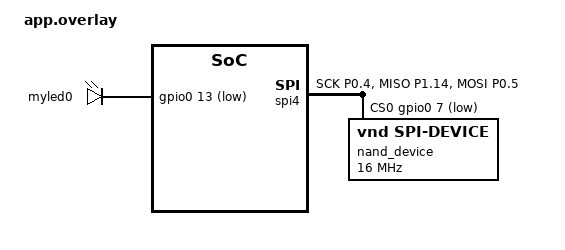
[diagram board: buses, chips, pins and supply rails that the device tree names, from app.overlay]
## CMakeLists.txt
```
# SPDX-License-Identifier: Apache-2.0

cmake_minimum_required(VERSION 3.20.0)
find_package(Zephyr REQUIRED HINTS $ENV{ZEPHYR_BASE})
project(NAND_flash)

file(GLOB APP_SOURCES
            "src/main.c"
            "src/NAND_FLASH_DHARA/src/nand_driver.c"
            "src/NAND_FLASH_DHARA/src/nand_top_layer.c"
            "src/NAND_FLASH_DHARA/dhara/dhara/*.c"
            "src/NAND_FLASH_DHARA/tests/spi_nand_oper_tests.c"
            "src/NAND_FLASH_DHARA/tests/test_spi_nand_top_layer.c"
            "src/NAND_FLASH_DHARA/src/diskio_nand.c"
            "src/NAND_FLASH_DHARA/src/vfs_NAND_flash.c"
            "src/NAND_FLASH_DHARA/tests/test_disk_access.c"
            "src/NAND_FLASH_DHARA/tests/vfs_test.c"
            "src/NAND_FLASH_DHARA/tests/main_nand_tests.c"
            "src/NAND_FLASH_DHARA/src/USB_mass_storage.c"
            "src/NAND_FLASH_DHARA/tests/simulation_test.c"
            "src/NAND_FLASH_DHARA/src/health_monitoring.c"
            "src/NAND_FLASH_DHARA/src/example_handle.c"
            
           
)

include_directories(${PROJECT_SOURCE_DIR}/src/NAND_FLASH_DHARA/dhara/dhara)
include_directories(${PROJECT_SOURCE_DIR}/src/NAND_FLASH_DHARA/inc)
include_directories(${PROJECT_SOURCE_DIR}/src/NAND_FLASH_DHARA/tests)

#FILE(GLOB app_sources dhara/dhara/*.c)

#FILE(GLOB app_sources src/SPI_NAND_DHARA/dhara_glue.c)
target_sources(app PRIVATE ${APP_SOURCES})


# # Ensure Zephyr includes the custom Kconfig
set(BOARD_ROOT ${CMAKE_CURRENT_SOURCE_DIR})
list(APPEND DTS_ROOT ${CMAKE_CURRENT_SOURCE_DIR}/src/NAND_FLASH_DHARA)
zephyr_include_directories(${CMAKE_CURRENT_SOURCE_DIR}/src/NAND_FLASH_DHARA)
```

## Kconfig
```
#
# Copyright (c) 2023 Nordic Semiconductor ASA
# Copyright (c) 2023 Antmicro <www.antmicro.com>
#
# SPDX-License-Identifier: Apache-2.0
#

mainmenu "Filesystems Sample Application"

config FS_SAMPLE_CREATE_SOME_ENTRIES
	bool "When no files are found on mounted partition create some"
	default y
	help
	  In case when no files could be listed, because there are none,
	  "some.dir" directory and "other.txt" file will be created
	  and list will run again to show them. This is useful when
	  showing how file system works on non-SD devices like internal
	  flash or (Q)SPI connected memories, where it is not possible to
	  easily add files with use of other device.

source "Kconfig.zephyr"

# Top-level Kconfig file
source "../src/NAND_FLASH_DHARA/Kconfig"
```

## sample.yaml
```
sample:
  name: Filesystems sample
common:
  tags: filesystem
  modules:
    - fatfs
tests:
  sample.filesystem.fat_fs:
    depends_on: sdhc
    harness: console
    harness_config:
      fixture: fixture_sdhc
  sample.filesystem.fat_fs.overlay:
    platform_allow: nrf52840_blip
  sample.filesystem.fat_fs.adafruit_2_8_tft_touch_v2:
    depends_on:
      - arduino_spi
      - arduino_gpio
      - arduino_i2c
      - gpio
      - spi
    platform_exclude:
      - stm32f769i_disco
      - pan1781_evb
      - pan1782_evb
      - frdm_k64f
      - mimxrt1010_evk
    extra_args: SHIELD=adafruit_2_8_tft_touch_v2
    tags: shield
    harness: console
    harness_config:
      fixture: fixture_shield_adafruit_2_8_tft_touch_v2
  sample.filesystem.fat_fs.nrf52840dk_nrf52840:
    build_only: true
    platform_allow: nrf52840dk_nrf52840
  sample.filesystem.fat_fs.nrf52840dk_nrf52840.qspi:
    build_only: true
    platform_allow: nrf52840dk_nrf52840
    extra_args:
      - OVERLAY_CONFIG=boards/nrf52840dk_nrf52840_qspi.conf
      - DTC_OVERLAY_FILE=boards/nrf52840dk_nrf52840_qspi.overlay
  sample.filesystem.fat_fs.has_sdmmc_disk:
    build_only: true
    filter: dt_compat_enabled("zephyr,sdmmc-disk")
    integration_platforms:
      - frdm_k64f
  sample.filesystem.ext2:
    simulation_exclude:
      - renode
    extra_args: CONF_FILE="prj_ext.conf"
    platform_allow: hifive_unmatched bl5340_dvk_cpuapp
  sample.filesystem.fat_fs.stm32h747i_disco_m7_sdmmc:
    build_only: true
    platform_allow: stm32h747i_disco_m7
    extra_args:
      - OVERLAY_CONFIG=boards/stm32h747i_disco_m7.conf
```

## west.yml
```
manifest:
  remotes:
  - name: ncs
      url-base: https://github.com/nrfconnect
    - name: zephyr
      url-base: https://github.com/zephyrproject-rtos
  projects:
    - name: zephyr
      remote: zephyr
      revision: main
      path: zephyr
    - name: sdk-nrf
      remote: ncs
      path: nrf
      revision: v2.5.1
      import: true
      west-commands: scripts/west-commands.yml
  self:
    path: app
```

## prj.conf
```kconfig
#CONFIG_FILE_SYSTEM=y
#CONFIG_FAT_FILESYSTEM_ELM=y
#CONFIG_PRINTK=y
CONFIG_MAIN_STACK_SIZE=8192
#2048
CONFIG_MAIN_THREAD_PRIORITY=1

# Let __ASSERT do its job
CONFIG_DEBUG=y
CONFIG_SPEED_OPTIMIZATIONS=y
#CONFIG_LOG_DEFAULT_LEVEL=4

#SPI
CONFIG_GPIO=y
CONFIG_SPI=y
#CONFIG_SPI_EXTENDED_MODES=y
CONFIG_SPI_ASYNC=y


#CONFIG_ZTEST=y
#check on heap size
CONFIG_HEAP_MEM_POOL_SIZE=8192 


#Logging
CONFIG_LOG=y
CONFIG_SERIAL=y
CONFIG_LOG_MODE_MINIMAL=y


CONFIG_LOG_DEFAULT_LEVEL=3



CONFIG_FAT_FILESYSTEM_ELM=y
CONFIG_DISK_ACCESS=y
CONFIG_FILE_SYSTEM=y

#TODO remove maybe, to test adding config for fs
CONFIG_FS_FATFS_MOUNT_MKFS=y
CONFIG_FS_FATFS_MAX_SS=2048


CONFIG_DISK_DRIVERS=y
#sector size/32
CONFIG_FS_FATFS_MAX_ROOT_ENTRIES=16000
CONFIG_FS_FATFS_LFN=y





#USB related configs

CONFIG_USB_DEVICE_STACK_NEXT=y
CONFIG_USBD_MSC_CLASS=y
CONFIG_USBD_MSC_SCSI_BUFFER_SIZE=2048
CONFIG_USBD_MSC_LOG_LEVEL_DBG=y
CONFIG_USBD_MSC_STACK_SIZE=2048
CONFIG_USBD_MSC_LUNS_PER_INSTANCE=3

#customized Macros
CONFIG_HEALTH_MONITORING=y
CONFIG_DHARA_METADATA_BUFFER=y
CONFIG_DHARA_METADATA_BUFFER_SIZE=16
```

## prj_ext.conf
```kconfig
# Copyright (c) 2023 Antmicro <www.antmicro.com>
# SPDX-License-Identifier: Apache-2.0

#CONFIG_LOG=y
#CONFIG_LOG_MODE_IMMEDIATE=y

#CONFIG_MAIN_STACK_SIZE=2048

#CONFIG_FILE_SYSTEM=y
#CONFIG_FILE_SYSTEM_EXT2=y

# Enable to allow formatting
# CONFIG_FILE_SYSTEM_MKFS=y
# CONFIG_TEST_RANDOM_GENERATOR=y

#CONFIG_DISK_ACCESS=y
#CONFIG_DISK_DRIVER_SDMMC=y

# First block of first partition after GPT
#CONFIG_EXT2_DISK_STARTING_SECTOR=2082
```

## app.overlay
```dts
// #include <zephyr/dt-bindings/input/input-event-codes.h>


// &qspi{//additionally disabled in proj.conf
//     status = "disabled";
// };


//don't use  P0.08, P0.09, P0.23, P0.24
&pinctrl {
    spi4m_default: spi4m_default {
        group1 {
            psels = <NRF_PSEL(SPIM_SCK, 0, 4)>,//0.8
                <NRF_PSEL(SPIM_MISO, 1, 14)>,//0.12
                <NRF_PSEL(SPIM_MOSI, 0, 5)>; //0.09
            //bias-pull-up;
            //nordic,drive-mode = <NRF_DRIVE_E0E1>;
        };
    };

    spi4m_sleep: spi4m_sleep {
        group1 {
            psels = <NRF_PSEL(SPIM_SCK, 0, 4)>,//0.8
                <NRF_PSEL(SPIM_MISO, 1, 14)>,//0.12
                <NRF_PSEL(SPIM_MOSI, 0, 5)>; //0.09
            low-power-enable;
            //bias-pull-up;
            //nordic,drive-mode = <NRF_DRIVE_E0E1>;
        };
    };
};






my_spi_master:&spi4 {
	compatible = "nordic,nrf-spim";
	status = "okay";
	pinctrl-0 = <&spi4m_default>;
	pinctrl-1 = <&spi4m_sleep>;
	pinctrl-names = "default", "sleep";
    cs-gpios = <&gpio0 7 GPIO_ACTIVE_LOW>;
    
    nand_device: spi-device@0 {
        status = "okay";
        compatible = "vnd,spi-device";
        reg = <0>;
        spi-max-frequency = <16000000>;//126000
        label = "nand_device";
    };
};

/ {
    aliases {
        led0 = &myled0;
    };
   
    leds {
        compatible = "gpio-leds";
        myled0: led_0 {
            gpios = <&gpio0 13 GPIO_ACTIVE_LOW>;
                };
    };
   };
```

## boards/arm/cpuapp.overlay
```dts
#include <zephyr/dt-bindings/input/input-event-codes.h>

&qspi{//additionally disabled in proj.conf
    status = "disabled";
};

&pinctrl {
    spi4m_default: spi4m_default {
        group1 {
            psels = <NRF_PSEL(SPIM_SCK, 1, 8)>,
                <NRF_PSEL(SPIM_MISO, 1, 10)>,
                <NRF_PSEL(SPIM_MOSI, 1, 9)>;
        };
    };

    spi4m_sleep: spi4m_sleep {
        group1 {
            psels = <NRF_PSEL(SPIM_SCK, 1, 8)>,
                <NRF_PSEL(SPIM_MISO, 1, 9)>,
                <NRF_PSEL(SPIM_MOSI, 1, 10)>;
            low-power-enable;
        };
    };
};






&spi4 {
	compatible = "nordic,nrf-spim";
	status = "okay";
	cs-gpios = <&gpio0 11 GPIO_ACTIVE_LOW>; /* D10 */
	pinctrl-0 = <&spi4m_default>;
	pinctrl-1 = <&spi4m_sleep>;
	pinctrl-names = "default", "sleep";
    reg_my_spi_master:reg_my_spi_master@0 {
        status = "okay";
        compatible = "vnd,spi-device";
        reg = <0>;
        spi-max-frequency = <1000000>;
        label = "reg_my_spi_master";
    };
};
```

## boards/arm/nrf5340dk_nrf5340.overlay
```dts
&spi4 {
    reg_my_spi_master:reg_my_spi_master@0 {
        status = "okay";
        compatible = "vnd,spi-device";
        reg = <0>;
        spi-max-frequency = <1000000>;
       
    };
};
```

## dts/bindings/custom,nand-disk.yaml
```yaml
# Copyright (c) 2022 Nordic Semiconductor ASA
# SPDX-License-Identifier: Apache-2.0

description: Block storage device on NAND flash partition

compatible: "custom,nand-disk"

include: base.yaml
include: spi-device.yaml

properties:
  partition:
    type: phandle
    required: true
    description: |
      Backing storage flash map partition.

  label:
    type: string
    required: true
    description: |
      Disk name.
```

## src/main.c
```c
#include <stdio.h>
#include <zephyr/kernel.h>
#include <zephyr/device.h>
#include <zephyr/logging/log.h>

#include <zephyr/drivers/gpio.h>                                                                                                                                                     
#include <zephyr/drivers/spi.h>
#include <zephyr/fs/fs.h>
#include <zephyr/devicetree.h>
#include "zephyr/storage/disk_access.h"
#include <ff.h> 

#ifndef MAIN


#include "nand_driver.h"
#include "spi_nand_oper_tests.h"
#include "test_spi_nand_top_layer.h"
#include "test_disk_access.h"
#include "vfs_NAND_flash.h"
#include "vfs_test.h"
#include "main_nand_tests.h"
#include "USB_mass_storage.h"
#include "simulation_test.h"


#include "diskio_nand.h"
#include "health_monitoring.h"
#include "vfs_NAND_flash.h"


LOG_MODULE_REGISTER(main, LOG_LEVEL_INF);





int  main(void)
{
	LOG_INF("My first breath as an IoT device");

	disk_nand_init();

	mount_nand_fs();

	display_health();
	//const struct spi_dt_spec spidev_dt = nand_init();
	//static struct disk_info nand_disk;
	

	// //Test the SPI communication
	// ret = test_SPI_NAND_Communicator_all_tests(&spidev_dt);
	// if (ret != 0) {
    //     LOG_ERR("Communication tests failed, err: %d", ret);
    // }

	// ret = test_nand_top_layer(&spidev_dt);
	// if (ret != 0) {
    //     LOG_ERR("Top layer DHARA tests failed, err: %d", ret);
    // }

	//test_disk_initialize_status_read(&nand_disk);

	//test_vfs_NAND_flash();
	
	//initialize_mass_storage_nand(); 
	test_all_main_nand_tests();
	//	mount_nand_fs();

	//to manually erase chip, but first disable the disk initialization in the diskio_nand.c at the bottom
	
	//nand_erase_chip(device_handle);

	//simulate_incoming_data();

	return 0;

}

#endif // MAIN
```

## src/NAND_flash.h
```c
/*
 * NAND_flash.h
 *
 * This header file defines a set of functions for interacting with a FAT file system
 * using the Zephyr OS File System API. The functions abstract common file operations,
 * including initialization of the file system, opening, reading, writing, and closing
 * files, as well as manipulating directories. The aim is to provide a simplified interface
 * for applications to perform file operations on a FAT file system..
 *
 *
 *
 * Author: [Denis Buckingham]
 * Date: [10.03.2024]
 */
```

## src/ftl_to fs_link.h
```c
/**
 * @file dhara_fat_adapter.h
 * @brief Adapter to integrate the Dhara NAND Flash Translation Layer (FTL) with the FAT file system in Zephyr RTOS.
 *
 * 
 * Author: [Denis Buckingham]
 * Date: [10.03.2024]
 */
```

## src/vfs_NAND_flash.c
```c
#include <zephyr/device.h>
#include <zephyr/kernel.h>
#include <zephyr/logging/log.h>
#include <zephyr/drivers/gpio.h>                                                                                                                                                     
#include <zephyr/drivers/spi.h>
#include <zephyr/devicetree.h>
#include <zephyr/fs/fs.h>
#include <zephyr/storage/disk_access.h>
#include <ff.h>

#include "vfs_NAND_flash.h"
#include "diskio_nand.h"


LOG_MODULE_REGISTER(vfs_NAND_flash, CONFIG_LOG_DEFAULT_LEVEL);

/* FAT fs mount info */
FATFS fat_fs;
struct fs_mount_t nand_mount_fat = {
    .type = FS_FATFS,
    .fs_data = &fat_fs,
    .flags = FS_MOUNT_FLAG_USE_DISK_ACCESS,//FS_MOUNT_FLAG_NO_FORMAT//FS_MOUNT_FLAG_USE_DISK_ACCESS,
    .storage_dev = (void *) "NAND",  // This should match the name of your disk registered
    .mnt_point = "/NAND:"       // Mount point in the filesystem
};

int mount_nand_fs(void) {
    int ret;

    // Attempt to mount the file system
    ret = fs_mount(&nand_mount_fat);
    if (ret) {
        LOG_ERR("Failed to mount NAND FS (%d)", ret);
    } else {
        LOG_INF("NAND ELM FAT FS mounted");
    } 
    return ret;
}

SYS_INIT(mount_nand_fs, APPLICATION, CONFIG_KERNEL_INIT_PRIORITY_DEVICE);
```

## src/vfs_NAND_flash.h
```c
/*
 * NAND_flash.h
 *
 * This header file defines a set of functions for interacting with a FAT file system
 * using the Zephyr OS File System API. The functions abstract common file operations,
 * including initialization of the file system, opening, reading, writing, and closing
 * files, as well as manipulating directories. The aim is to provide a simplified interface
 * for applications to perform file operations on a FAT file system..
 *
 *
 *
 * Author: [Denis Buckingham]
 * Date: [10.03.2024]
 */

#include <zephyr/fs/fs.h>
#include <ff.h>  // FatFs API

// Declare the mount object as extern
extern struct fs_mount_t nand_mount_fat;

int mount_nand_fs(void);
```
